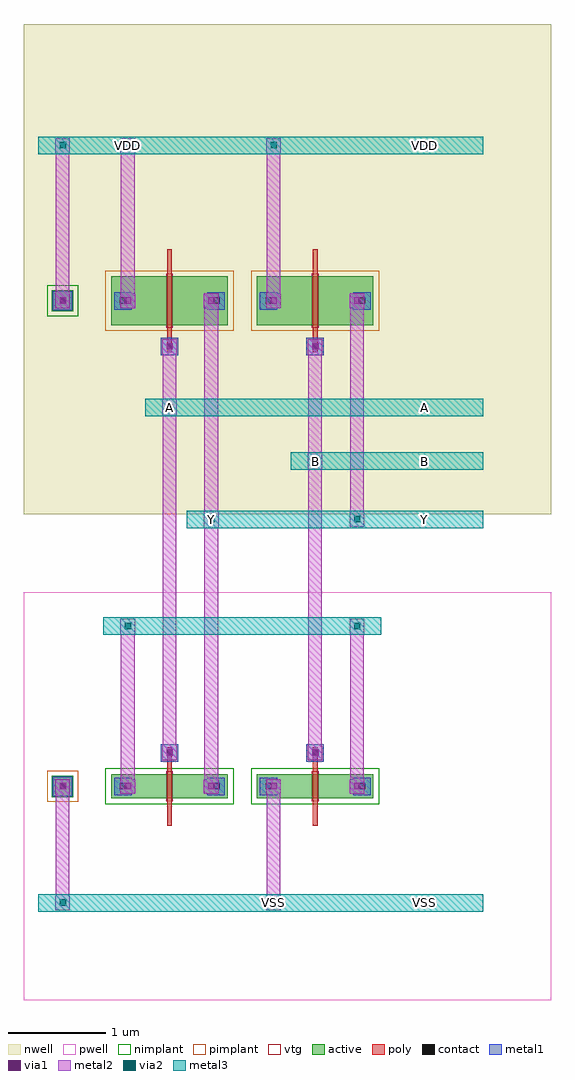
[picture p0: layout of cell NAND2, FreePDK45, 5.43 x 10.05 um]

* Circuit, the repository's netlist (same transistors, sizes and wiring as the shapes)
.subckt NAND2 VDD VSS A B Y
M0 Y A VDD VDD PMOS_VTG W=0.5U L=0.05U
M1 Y B VDD VDD PMOS_VTG W=0.5U L=0.05U
M2 Y A n1 VSS NMOS_VTG W=0.25U L=0.05U
M3 n1 B VSS VSS NMOS_VTG W=0.25U L=0.05U
.ends NAND2
.end

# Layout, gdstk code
import gdstk
lib = gdstk.Library(unit=1e-6, precision=5e-10)
def R(c, l, rs):  # rectangles x0, y0, x1, y1
    for r in rs: c.add(gdstk.rectangle(r[:2], r[2:], *l))
active = (1, 0)
pwell = (2, 0)
nwell = (3, 0)
nimplant = (4, 0)
pimplant = (5, 0)
vtg = (6, 0)
poly = (9, 0)
contact = (10, 0)
metal1 = (11, 0)
via1 = (12, 0)
metal2 = (13, 0)
via2 = (14, 0)
metal3 = (15, 0)

nand2 = lib.new_cell('NAND2')
R(nand2, active, [(0.6,1.875,1.8,2.125), (2.1,1.875,3.3,2.125), (-0.01,1.89,0.21,2.11), (0.6,6.75,1.8,7.25), (2.1,6.75,3.3,7.25), (-0.01,6.89,0.21,7.11)])
R(nand2, pwell, [(-0.3,-0.2,5.13,4)])
R(nand2, nwell, [(-0.3,4.8,5.13,9.85)])
R(nand2, nimplant, [(0.54,1.815,1.86,2.185), (2.04,1.815,3.36,2.185), (-0.06,6.84,0.26,7.16)])
R(nand2, pimplant, [(-0.06,1.84,0.26,2.16), (0.54,6.69,1.86,7.31), (2.04,6.69,3.36,7.31)])
R(nand2, vtg, [(1.165,1.845,1.235,2.155), (2.665,1.845,2.735,2.155), (1.165,6.72,1.235,7.28), (2.665,6.72,2.735,7.28)])
R(nand2, poly, [(1.175,1.595,1.225,2.405), (2.675,1.595,2.725,2.405), (1.175,6.47,1.225,7.53), (2.675,6.47,2.725,7.53)])
R(nand2, contact, [(0.07,1.97,0.135,2.035), (0.69,1.97,0.755,2.035), (1.65,1.97,1.715,2.035), (2.19,1.97,2.255,2.035), (3.15,1.97,3.215,2.035), (1.17,2.315,1.235,2.38), (2.67,2.315,2.735,2.38), (1.17,6.5,1.235,6.565), (2.67,6.5,2.735,6.565), (0.07,6.97,0.135,7.035), (0.69,6.97,0.755,7.035), (1.65,6.97,1.715,7.035), (2.19,6.97,2.255,7.035), (3.15,6.97,3.215,7.035)])
R(nand2, metal1, [(0,1.9,0.2,2.1), (0.63,1.91,0.81,2.09), (1.59,1.91,1.77,2.09), (2.13,1.91,2.31,2.09), (3.09,1.91,3.27,2.09), (0.025,1.925,0.175,2.075), (0.025,1.925,0.175,2.075), (0.025,1.925,0.175,2.075), (0.695,1.925,0.845,2.075), (1.555,1.925,1.705,2.075), (2.195,1.925,2.345,2.075), (3.055,1.925,3.205,2.075), (1.11,2.255,1.29,2.435), (2.61,2.255,2.79,2.435), (1.125,2.27,1.275,2.42), (2.625,2.27,2.775,2.42), (1.11,6.44,1.29,6.62), (2.61,6.44,2.79,6.62), (1.125,6.455,1.275,6.605), (2.625,6.455,2.775,6.605), (0,6.9,0.2,7.1), (0.63,6.91,0.81,7.09), (1.59,6.91,1.77,7.09), (2.13,6.91,2.31,7.09), (3.09,6.91,3.27,7.09), (0.025,6.925,0.175,7.075), (0.025,6.925,0.175,7.075), (0.025,6.925,0.175,7.075), (0.695,6.925,0.845,7.075), (1.555,6.925,1.705,7.075), (2.195,6.925,2.345,7.075), (3.055,6.925,3.205,7.075)])
R(nand2, via1, [(0.07,1.97,0.135,2.035), (0.07,1.97,0.135,2.035), (0.07,1.97,0.135,2.035), (0.74,1.97,0.805,2.035), (1.6,1.97,1.665,2.035), (2.24,1.97,2.305,2.035), (3.1,1.97,3.165,2.035), (1.17,2.315,1.235,2.38), (2.67,2.315,2.735,2.38), (1.17,6.5,1.235,6.565), (2.67,6.5,2.735,6.565), (0.07,6.97,0.135,7.035), (0.07,6.97,0.135,7.035), (0.07,6.97,0.135,7.035), (0.74,6.97,0.805,7.035), (1.6,6.97,1.665,7.035), (2.24,6.97,2.305,7.035), (3.1,6.97,3.165,7.035)])
R(nand2, metal2, [(0.025,0.725,0.175,0.875), (0.025,0.725,0.175,0.875), (0.025,0.725,0.175,0.875), (2.195,0.725,2.345,0.875), (0.03,0.8,0.17,2), (0.03,0.8,0.17,2), (0.03,0.8,0.17,2), (2.2,0.8,2.34,2), (0.025,1.925,0.175,2.075), (0.025,1.925,0.175,2.075), (0.025,1.925,0.175,2.075), (0.695,1.925,0.845,2.075), (1.555,1.925,1.705,2.075), (2.195,1.925,2.345,2.075), (3.055,1.925,3.205,2.075), (0.7,2,0.84,3.65), (1.56,2,1.7,4.75), (3.06,2,3.2,3.65), (1.125,2.27,1.275,2.42), (2.625,2.27,2.775,2.42), (1.13,2.345,1.27,5.9), (2.63,2.345,2.77,5.35), (0.695,3.575,0.845,3.725), (3.055,3.575,3.205,3.725), (1.555,4.675,1.705,4.825), (1.555,4.675,1.705,4.825), (3.055,4.675,3.205,4.825), (1.56,4.75,1.7,7), (3.06,4.75,3.2,7), (2.625,5.275,2.775,5.425), (2.625,5.275,2.775,5.425), (2.63,5.35,2.77,6.53), (1.125,5.825,1.275,5.975), (1.125,5.825,1.275,5.975), (1.13,5.9,1.27,6.53), (1.125,6.455,1.275,6.605), (2.625,6.455,2.775,6.605), (0.025,6.925,0.175,7.075), (0.025,6.925,0.175,7.075), (0.025,6.925,0.175,7.075), (0.695,6.925,0.845,7.075), (1.555,6.925,1.705,7.075), (2.195,6.925,2.345,7.075), (3.055,6.925,3.205,7.075), (0.03,7,0.17,8.6), (0.03,7,0.17,8.6), (0.03,7,0.17,8.6), (0.7,7,0.84,8.6), (2.2,7,2.34,8.6), (0.025,8.525,0.175,8.675), (0.025,8.525,0.175,8.675), (0.025,8.525,0.175,8.675), (0.695,8.525,0.845,8.675), (2.195,8.525,2.345,8.675)])
R(nand2, via2, [(0.07,0.77,0.135,0.835), (0.07,0.77,0.135,0.835), (0.07,0.77,0.135,0.835), (2.24,0.77,2.305,0.835), (0.74,3.62,0.805,3.685), (3.1,3.62,3.165,3.685), (1.6,4.72,1.665,4.785), (1.6,4.72,1.665,4.785), (3.1,4.72,3.165,4.785), (2.67,5.32,2.735,5.385), (2.67,5.32,2.735,5.385), (1.17,5.87,1.235,5.935), (1.17,5.87,1.235,5.935), (0.07,8.57,0.135,8.635), (0.07,8.57,0.135,8.635), (0.07,8.57,0.135,8.635), (0.74,8.57,0.805,8.635), (2.24,8.57,2.305,8.635)])
R(nand2, metal3, [(-0.15,0.71,2.52,0.89), (2.52,0.71,4.43,0.89), (0.025,0.725,0.175,0.875), (0.025,0.725,0.175,0.875), (0.025,0.725,0.175,0.875), (2.195,0.725,2.345,0.875), (0.52,3.56,3.38,3.74), (0.695,3.575,0.845,3.725), (3.055,3.575,3.205,3.725), (1.38,4.66,3.38,4.84), (3.38,4.66,4.43,4.84), (1.555,4.675,1.705,4.825), (1.555,4.675,1.705,4.825), (3.055,4.675,3.205,4.825), (2.45,5.26,2.95,5.44), (2.95,5.26,4.43,5.44), (2.625,5.275,2.775,5.425), (2.625,5.275,2.775,5.425), (0.95,5.81,1.45,5.99), (1.45,5.81,4.43,5.99), (1.125,5.825,1.275,5.975), (1.125,5.825,1.275,5.975), (-0.15,8.51,2.52,8.69), (2.52,8.51,4.43,8.69), (0.025,8.525,0.175,8.675), (0.025,8.525,0.175,8.675), (0.025,8.525,0.175,8.675), (0.695,8.525,0.845,8.675), (2.195,8.525,2.345,8.675)])
nand2.add(gdstk.Label('VDD', (3.83,8.6), layer=15, texttype=0))
nand2.add(gdstk.Label('VDD', (3.83,8.6), layer=15, texttype=1))
nand2.add(gdstk.Label('VDD', (3.83,8.6), layer=15, texttype=2))
nand2.add(gdstk.Label('VDD', (0.77,8.6), layer=13, texttype=0))
nand2.add(gdstk.Label('VDD', (0.77,8.6), layer=13, texttype=1))
nand2.add(gdstk.Label('VDD', (0.77,8.6), layer=13, texttype=2))
nand2.add(gdstk.Label('VSS', (3.83,0.8), layer=15, texttype=0))
nand2.add(gdstk.Label('VSS', (3.83,0.8), layer=15, texttype=1))
nand2.add(gdstk.Label('VSS', (3.83,0.8), layer=15, texttype=2))
nand2.add(gdstk.Label('VSS', (2.27,0.8), layer=13, texttype=0))
nand2.add(gdstk.Label('VSS', (2.27,0.8), layer=13, texttype=1))
nand2.add(gdstk.Label('VSS', (2.27,0.8), layer=13, texttype=2))
nand2.add(gdstk.Label('A', (3.83,5.9), layer=15, texttype=0))
nand2.add(gdstk.Label('A', (3.83,5.9), layer=15, texttype=1))
nand2.add(gdstk.Label('A', (3.83,5.9), layer=15, texttype=2))
nand2.add(gdstk.Label('A', (1.2,5.9), layer=13, texttype=0))
nand2.add(gdstk.Label('A', (1.2,5.9), layer=13, texttype=1))
nand2.add(gdstk.Label('A', (1.2,5.9), layer=13, texttype=2))
nand2.add(gdstk.Label('B', (3.83,5.35), layer=15, texttype=0))
nand2.add(gdstk.Label('B', (3.83,5.35), layer=15, texttype=1))
nand2.add(gdstk.Label('B', (3.83,5.35), layer=15, texttype=2))
nand2.add(gdstk.Label('B', (2.7,5.35), layer=13, texttype=0))
nand2.add(gdstk.Label('B', (2.7,5.35), layer=13, texttype=1))
nand2.add(gdstk.Label('B', (2.7,5.35), layer=13, texttype=2))
nand2.add(gdstk.Label('Y', (3.83,4.75), layer=15, texttype=0))
nand2.add(gdstk.Label('Y', (3.83,4.75), layer=15, texttype=1))
nand2.add(gdstk.Label('Y', (3.83,4.75), layer=15, texttype=2))
nand2.add(gdstk.Label('Y', (1.63,4.75), layer=13, texttype=0))
nand2.add(gdstk.Label('Y', (1.63,4.75), layer=13, texttype=1))
nand2.add(gdstk.Label('Y', (1.63,4.75), layer=13, texttype=2))

lib.write_gds('NAND2.gds')
